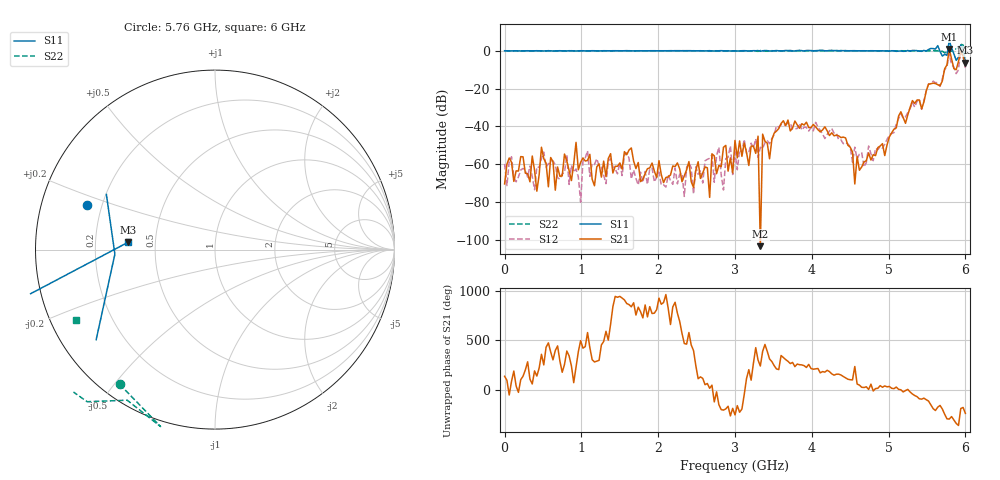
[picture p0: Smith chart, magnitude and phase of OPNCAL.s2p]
!Keysight Technologies N9916A: A.08.06
!Date: Thursday, 30 May 2024 20:18:47
!Timezone: (GMT+10:00) Brisbane
!Model: N9916A
!Serial: MY53102361
!GPS Latitude:
!GPS Longitude:
!GPS TimeStamp: 0001-01-01 00:00:00Z
!GPS Seconds Since Last Read: 0
!CHECKSUM:1771145555
!Correction: S11(ON U)S21(ON U)S12(ON U)S22(ON U)
!S2P File: Measurements:S11,S21,S12,S22:
# Hz S RI R 50
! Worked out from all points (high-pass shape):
!   201 points, 30 kHz to 6 GHz, reference 50 ohm
!   highest |S21| = 0.89 dB at 5.79 GHz (marker M1); lowest = -103.2 dB at 3.33 GHz (marker M2)
!   |S21| within 3 dB of the highest: 5.779216 GHz to 5.807341 GHz (28.13 MHz wide, 0.485 % of centre); 5.931 GHz to 5.961 GHz (30.25 MHz wide, 0.509 % of centre)
!   lowest |S11| = -6.3 dB at 6 GHz (marker M3), VSWR 2.88, Z = 17.4 + j1.9 ohm
!   |S11| at or under -10 dB: nowhere
!   |S22| runs from -1.2 to 3.5 dB; largest |S21 - S12| = 0.29
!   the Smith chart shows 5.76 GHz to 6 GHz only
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30000  1 -0.000403  -0.000224 0.000205  0.000513 -0.000888  1 -0.00039
8.10026e8  0.9368 -0.3185  0.00105 0.000661  0.00129 0.0012  0.9292 -0.3131
9.90025e8  0.9231 -0.3866  -0.00082 0.000779  4.45e-05 -9.02e-05  0.9149 -0.3851
1.020025e9  0.9162 -0.3871  0.00071 0.0013  -5.5e-05 0.00119  0.9203 -0.3965
2.01002e9  0.6987 -0.7152  -0.00113 -0.00053  -0.000248 -0.00057  0.6955 -0.7197
2.670017e9  0.4799 -0.8812  0.000129 3.85e-05  0.00102 0.00103  0.4814 -0.8599
2.700016e9  0.4816 -0.87  0.00127 0.00141  -0.00126 0.00124  0.4737 -0.8743
2.850016e9  0.4257 -0.9021  -0.0026 0.0011  -0.00018 0.000108  0.4132 -0.8968
3.000015e9  0.3716 -0.9169  -0.00135 0.00407  0.00209 -0.000123  0.3622 -0.9252
3.300014e9  0.2497 -0.9789  0.00287 -0.00474  -0.00153 -6.15e-05  0.2255 -0.9375
3.330013e9  0.2084 -0.9455  -3.36e-06 -6.04e-06  0.00169 -0.00225  0.2526 -0.9782
3.360013e9  0.187 -0.9814  0.00549 0.00303  0.00179 -0.00192  0.2417 -0.9672
4.02001e9  -0.0225 -0.9972  -0.0099 -0.00545  -0.00619 -0.00453  -0.0407 -0.9881
4.440008e9  -0.19 -0.9901  -0.00267 0.00422  -0.00266 0.00271  -0.1954 -0.9782
4.560007e9  -0.2335 -0.9763  -0.000169 -0.000252  9.48e-05 0.00283  -0.2384 -0.9675
5.010005e9  -0.4206 -0.8749  0.00435 0.00305  0.00483 0.00348  -0.4091 -0.9081
5.670002e9  -0.3638 -0.8816  -0.1081 -0.048  -0.0924 -0.069  -0.6136 -0.7776
5.790001e9  -1.857 0.207  0.4363 1.018  0.2693 0.7832  -0.303 -0.9861
5.820001e9  -0.8468 -0.8184  -0.0205 0.6092  -0.0215 0.4288  -0.489 -0.839
5.91e9  -0.6051 0.307  0.5195 0.0212  0.3162 0.00074  -0.8807 -0.8091
5.94e9  -1.414 0.282  -0.9327 0.1143  -1.009 -0.00437  -1.274 -0.7759
6e9  -0.4827 0.0417  -0.2265 0.3341  -0.2001 0.2891  -0.7721 -0.3949
